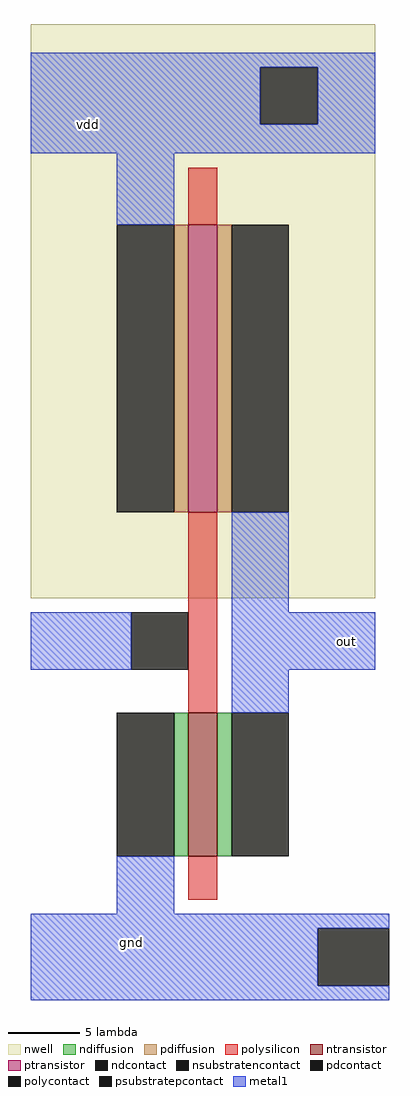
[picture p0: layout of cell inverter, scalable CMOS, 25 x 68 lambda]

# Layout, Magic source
magic
tech scmos
<< nwell >>
rect 6 0 30 40
<< ntransistor >>
rect 17 -18 19 -8
<< ptransistor >>
rect 17 6 19 26
<< ndiffusion >>
rect 16 -18 17 -8
rect 19 -18 20 -8
<< pdiffusion >>
rect 16 6 17 26
rect 19 6 20 26
<< ndcontact >>
rect 12 -18 16 -8
rect 20 -18 24 -8
<< pdcontact >>
rect 12 6 16 26
rect 20 6 24 26
<< psubstratepcontact >>
rect 26 -27 31 -23
<< nsubstratencontact >>
rect 22 33 26 37
<< polysilicon >>
rect 17 26 19 30
rect 17 -8 19 6
rect 17 -21 19 -18
<< polycontact >>
rect 13 -5 17 -1
<< metal1 >>
rect 6 37 30 38
rect 6 33 22 37
rect 26 33 30 37
rect 6 31 30 33
rect 12 26 16 31
rect 20 -1 24 6
rect 6 -5 13 -1
rect 20 -5 30 -1
rect 20 -8 24 -5
rect 12 -22 16 -18
rect 6 -23 31 -22
rect 6 -27 26 -23
rect 6 -28 31 -27
<< labels >>
rlabel metal1 10 33 10 33 5 vdd
rlabel metal1 13 -24 13 -24 1 gnd
rlabel metal1 28 -3 28 -3 1 out
<< end >>
